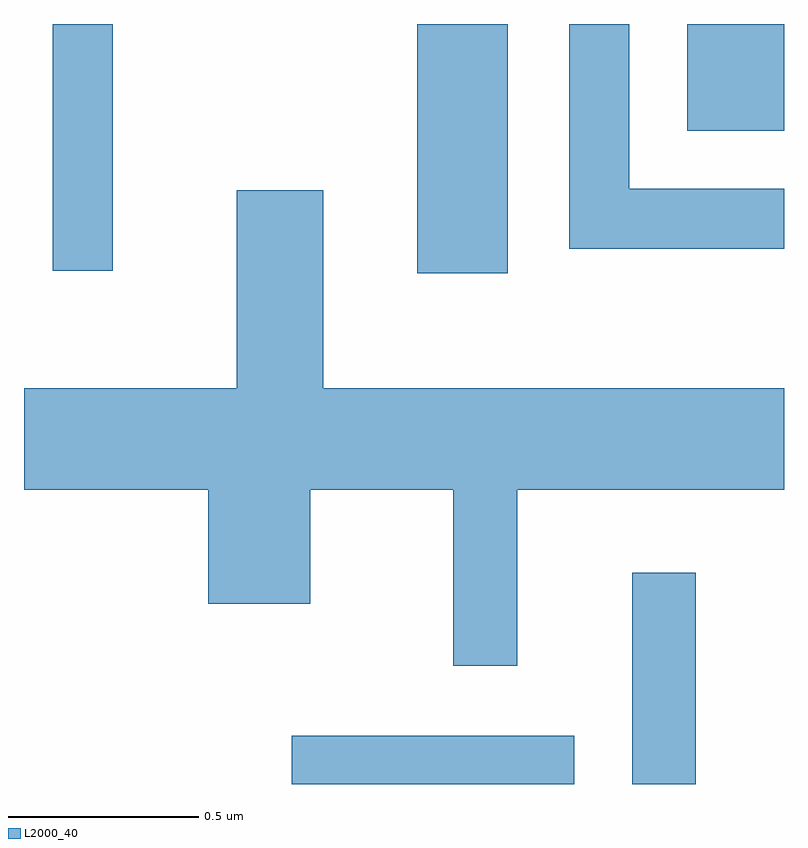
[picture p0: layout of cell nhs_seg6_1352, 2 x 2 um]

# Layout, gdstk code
import gdstk
lib = gdstk.Library(unit=1e-6, precision=1e-09)
def R(c, l, rs):  # rectangles x0, y0, x1, y1
    for r in rs: c.add(gdstk.rectangle(r[:2], r[2:], *l))
def P(c, l, *ps):  # polygons
    for p in ps: c.add(gdstk.Polygon(p, *l))
L2000_40 = (2000, 40)

nhs_seg6_1352 = lib.new_cell('nhs_seg6_1352')
R(nhs_seg6_1352, L2000_40, [(195.316,1649.162,196.059,1649.289), (196.211,1649.162,196.379,1649.718), (195.646,1650.506,195.884,1651.162), (194.686,1650.513,194.844,1651.162), (196.356,1650.881,196.611,1651.162)])
P(nhs_seg6_1352, L2000_40, [(196.611,1650.729),(196.204,1650.729),(196.204,1651.162),(196.046,1651.162),(196.046,1650.571),(196.611,1650.571)],
  [(195.909,1649.936),(196.611,1649.936),(196.611,1650.204),(195.399,1650.204),(195.399,1650.724),(195.171,1650.724),(195.171,1650.204),(194.611,1650.204),(194.611,1649.936),(195.096,1649.936),(195.096,1649.636),(195.364,1649.636),(195.364,1649.936),(195.741,1649.936),(195.741,1649.473),(195.909,1649.473)])

lib.write_gds('nhs_seg6_1352.gds')
